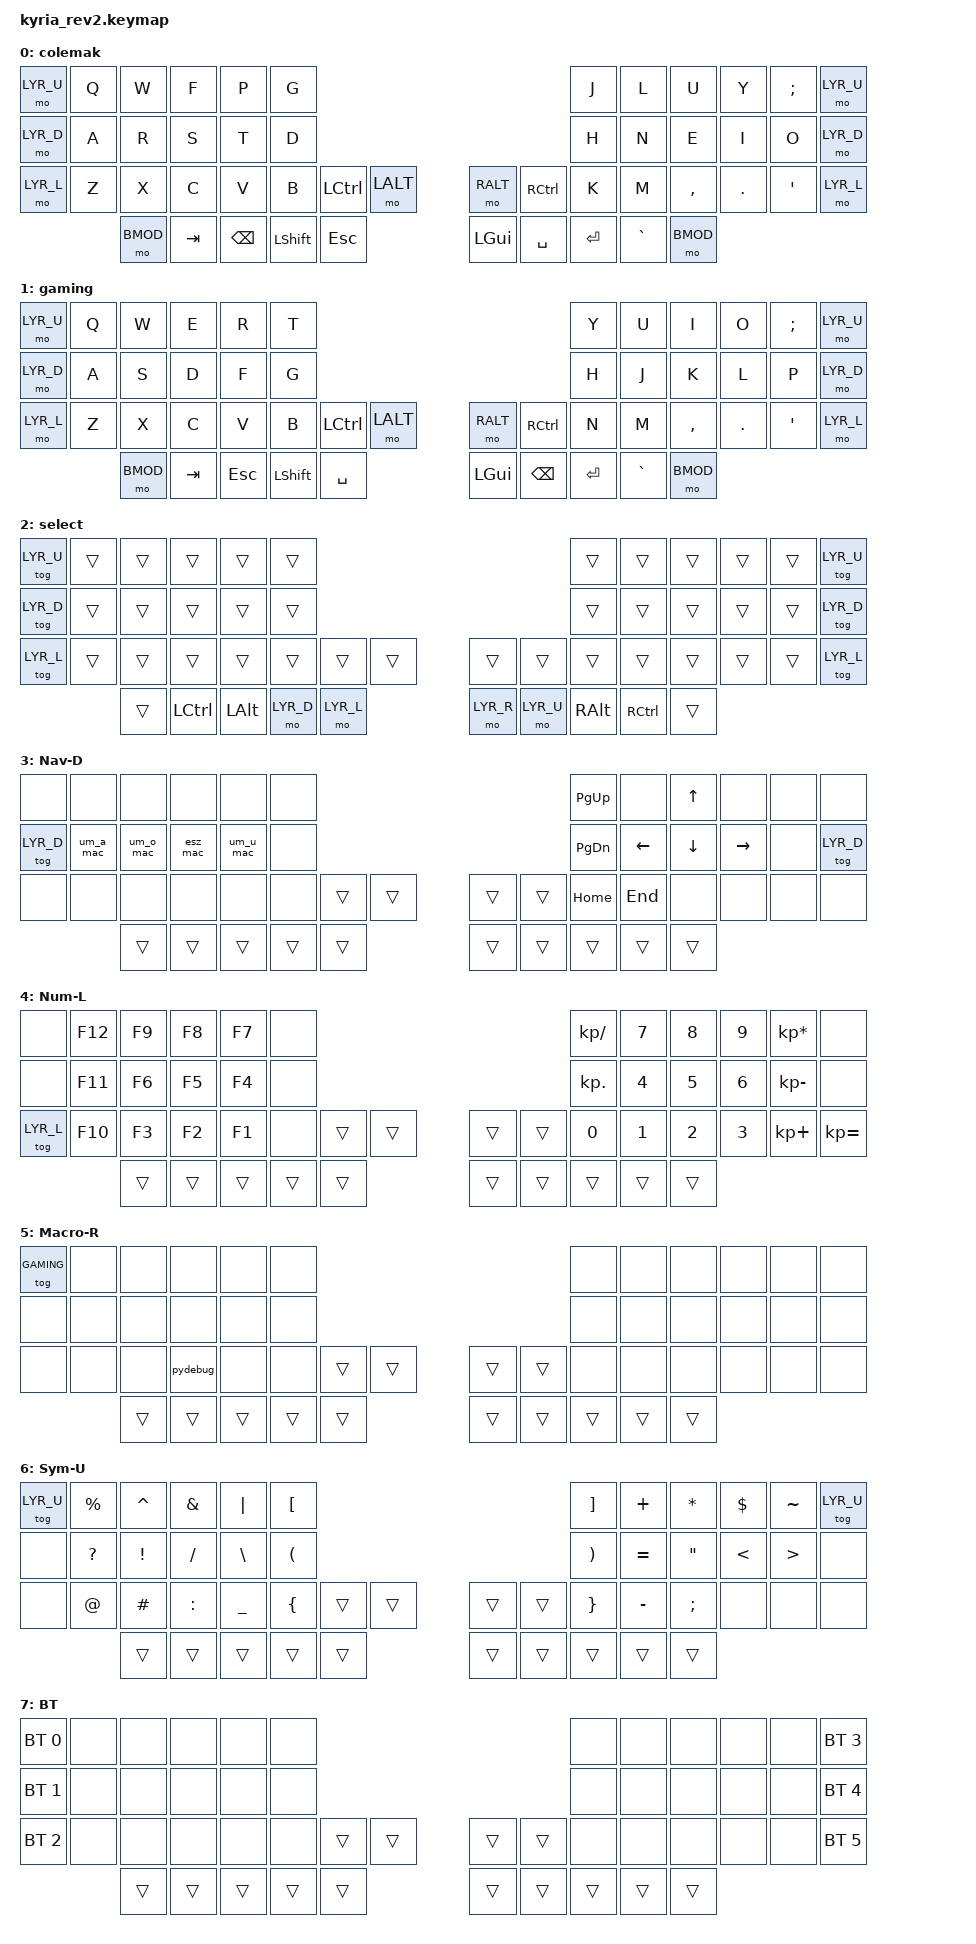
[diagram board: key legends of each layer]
/*
 * Copyright (c) 2020 The ZMK Contributors
 *
 * SPDX-License-Identifier: MIT
 *
 *
 * Kabit's Kyria ZMK build for BT
 */

#define COLEMAK 0
#define GAMING 1
#define LMOD  2
#define LYR_D 3
#define LYR_L 4
#define LYR_R 5
#define LYR_U 6
#define BMOD  7

#include <behaviors.dtsi>
#include <dt-bindings/zmk/keys.h>
#include <dt-bindings/zmk/bt.h>
#include <dt-bindings/zmk/outputs.h>

// ---------------------------------------------------------------------------------------------------------------------------------
// | 0    | 1   | 2   | 3    | 4    | 5    |                                          | 6    | 7    | 8    | 9    | 10    | 11   |
// | 12   | 13  | 14  | 15   | 16   | 17   |                                          | 18   | 19   | 20   | 21   | 22    | 23   |
// | 24   | 25  | 26  | 27   | 28   | 29   | 30   | 31   |              | 32   | 33   | 34   | 35   | 36   | 37   | 38    | 39   |
//                    | 40   | 41   | 42   | 43   | 44   |              | 45   | 46   | 47   | 48   | 49   |

/ {
	combos {
        compatible = "zmk,combos";
		
		combo_colemak {
			timeout-ms = <50>;
			key-positions = <1 25>;
			bindings = <&to COLEMAK>;
		};

		combo_gaming {
			timeout-ms = <50>;
			key-positions = <1 5>;
			bindings = <&to GAMING>;
		};

		combo_down {
			timeout-ms = <50>;
			key-positions = <30 43>;
			bindings = <&mo LYR_D>;
		};
		
		combo_left {
			timeout-ms = <50>;
			key-positions = <31 44>;
			bindings = <&mo LYR_L>;
		};
		
		combo_right {
			timeout-ms = <50>;
			key-positions = <32 45>;
			bindings = <&mo LYR_R>;
		};
		
		combo_up {
			timeout-ms = <50>;
			key-positions = <33 46>;
			bindings = <&mo LYR_U>;
		};

		combo_bclear {
			timeout-ms = <100>;
			key-positions = <40 49>;
			bindings = <&bt BT_CLR>;
		};

		combo_bootloader_left {
			timeout-ms = <50>;
			key-positions = <40 31>;
			bindings = <&bootloader>;
		};

		combo_bootloader_right {
			timeout-ms = <50>;
			key-positions = <49 32>;
			bindings = <&bootloader>;
		};
		
		combo_toggle_btout {
			timeout-ms = <50>;
			key-positions = <40 30>;
			bindings = <&out OUT_TOG>;
		};
	};
	
	macros {
	    um_a_mac: um_a_mac {
			label = "um_a_mac";
			compatible = "zmk,behavior-macro";
			#binding-cells = <0>;
			bindings
			    = <&macro_press &kp LALT>
				, <&macro_tap &kp U>
				, <&macro_release &kp LALT>
				, <&macro_tap &kp A>;
		};

	    um_o_mac: um_o_mac {
			label = "um_o_mac";
			compatible = "zmk,behavior-macro";
			#binding-cells = <0>;
			bindings
			    = <&macro_press &kp LALT>
				, <&macro_tap &kp U>
				, <&macro_release &kp LALT>
				, <&macro_tap &kp O>;
		};

	    esz_mac: esz_mac {
			label = "esz_mac";
			compatible = "zmk,behavior-macro";
			#binding-cells = <0>;
			bindings
			    = <&macro_press &kp LALT>
				, <&macro_tap &kp S>
				, <&macro_release &kp LALT>;
		};

	    um_u_mac: um_u_mac {
			label = "um_u_mac";
			compatible = "zmk,behavior-macro";
			#binding-cells = <0>;
			bindings
			    = <&macro_press &kp LALT>
				, <&macro_tap &kp U>
				, <&macro_release &kp LALT>
				, <&macro_tap &kp U>;
		};

		pydebug: pydebug {
			label = "pydebug";
			compatible = "zmk,behavior-macro";
			#binding-cells = <0>;
			bindings
			    = <&macro_tap &kp P &kp R &kp I &kp N &kp T &kp LPAR>,
			      <&macro_tap &kp DQT &kp STAR &kp DQT>,
			      <&macro_tap &kp STAR &kp N2 &kp N5 &kp RPAR>;
		};
	};

	keymap {
		compatible = "zmk,keymap";

		colemak_layer {
			label = "colemak";
			bindings = <
	&mo LYR_U &kp Q &kp W &kp F &kp P &kp G                                                &kp J &kp L  &kp U     &kp Y   &kp SEMI &mo LYR_U
	&mo LYR_D &kp A &kp R &kp S &kp T &kp D                                                &kp H &kp N  &kp E     &kp I   &kp O    &mo LYR_D
	&mo LYR_L &kp Z &kp X &kp C &kp V &kp B  &kp LCTRL &mo LALT         &mo RALT &kp RCTRL &kp K &kp M  &kp COMMA &kp DOT &kp APOS &mo LYR_L
	               &mo BMOD &kp TAB &kp BSPC &kp LSHFT &kp ESC          &kp LGUI &kp SPACE &kp RET &kp GRAVE &mo BMOD
			>;
		};

		gaming_layer {
			label ="gaming";
			bindings = <
	&mo LYR_U &kp Q &kp W &kp E &kp R &kp T                                                &kp Y &kp U  &kp I     &kp O   &kp SEMI &mo LYR_U
	&mo LYR_D &kp A &kp S &kp D &kp F &kp G                                                &kp H &kp J  &kp K     &kp L   &kp P    &mo LYR_D
	&mo LYR_L &kp Z &kp X &kp C &kp V &kp B  &kp LCTRL &mo LALT         &mo RALT &kp RCTRL &kp N &kp M  &kp COMMA &kp DOT &kp APOS &mo LYR_L
	               &mo BMOD &kp TAB &kp ESC &kp LSHFT &kp SPACE         &kp LGUI &kp BSPC &kp RET &kp GRAVE &mo BMOD
			>;
	};

		lmod_layer {
		        label = "select";
			bindings = <
	&tog LYR_U &trans &trans &trans &trans &trans                                                 &trans &trans &trans &trans &trans &tog LYR_U
	&tog LYR_D &trans &trans &trans &trans &trans                                                 &trans &trans &trans &trans &trans &tog LYR_D
	&tog LYR_L &trans &trans &trans &trans &trans &trans &trans                     &trans &trans &trans &trans &trans &trans &trans &tog LYR_L
	               &trans &kp LCTRL &kp LALT &mo LYR_D &mo LYR_L      &mo LYR_R &mo LYR_U &kp RALT &kp RCTRL &trans
			>;
		};

		down_layer {
		        label = "Nav-D";
			bindings = <
	&none      &none &none &none &none &none                                                 &kp PG_UP &none    &kp UP   &none     &none &none
	&tog LYR_D &um_a_mac &um_o_mac &esz_mac &um_u_mac &none                                  &kp PG_DN &kp LEFT &kp DOWN &kp RIGHT &none &tog LYR_D
	&none      &none &none &none &none &none &trans &trans                &trans   &trans    &kp HOME  &kp END  &none    &none     &none &none
	               &trans &trans &trans &trans &trans                &trans   &trans &trans &trans &trans
			>;
		};

		left_layer { 
			label = "Num-L";
			bindings = <
	&none      &kp F12 &kp F9 &kp F8 &kp F7 &none                                                 &kp KP_SLASH &kp N7 &kp N8 &kp N9 &kp KP_MULTIPLY &none
	&none      &kp F11 &kp F6 &kp F5 &kp F4 &none                                                 &kp KP_DOT   &kp N4 &kp N5 &kp N6 &kp KP_MINUS    &none
	&tog LYR_L &kp F10 &kp F3 &kp F2 &kp F1 &none &trans &trans                     &trans &trans &kp N0       &kp N1 &kp N2 &kp N3 &kp KP_PLUS     &kp KP_EQUAL
	               &trans &trans &trans &trans &trans                &trans   &trans &trans &trans &trans
			>;
		};

		right_layer {  // MACROS
			label = "Macro-R";
			bindings = <
	&tog GAMING &none &none &none    &none &none                                            &none &none &none &none &none &none
	&none       &none &none &none    &none &none                                            &none &none &none &none &none &none
	&none       &none &none &pydebug &none &none &trans &trans                &trans &trans &none &none &none &none &none &none  
	                        &trans &trans &trans &trans &trans                &trans &trans &trans &trans &trans
			>;
	    };

		up_layer {
			label = "Sym-U";
			bindings = <
	&tog LYR_U &kp PRCNT &kp CARET &kp AMPS  &kp PIPE  &kp LBKT                              &kp RBKT &kp PLUS  &kp STAR &kp DLLR &kp TILDE &tog LYR_U
	&none      &kp QMARK &kp EXCL  &kp SLASH &kp BSLH  &kp LPAR                              &kp RPAR &kp EQUAL &kp DQT  &kp LT   &kp GT    &none
	&none      &kp AT    &kp HASH  &kp COLON &kp UNDER &kp LBRC &trans &trans  &trans &trans &kp RBRC &kp MINUS &kp SEMI &none    &none     &none
	                                  &trans &trans &trans &trans &trans  &trans &trans &trans &trans &trans
			>;
	    };

		bluetooth_layer {
			label = "BT";
			bindings = <
	&bt BT_SEL 0 &none &none &none &none &none                                          &none &none &none &none &none &bt BT_SEL 3
	&bt BT_SEL 1 &none &none &none &none &none                                          &none &none &none &none &none &bt BT_SEL 4
	&bt BT_SEL 2 &none &none &none &none &none &trans &trans              &trans &trans &none &none &none &none &none &bt BT_SEL 5  
	                      &trans &trans &trans &trans &trans              &trans &trans &trans &trans &trans
			>;
	    };
	};
};
